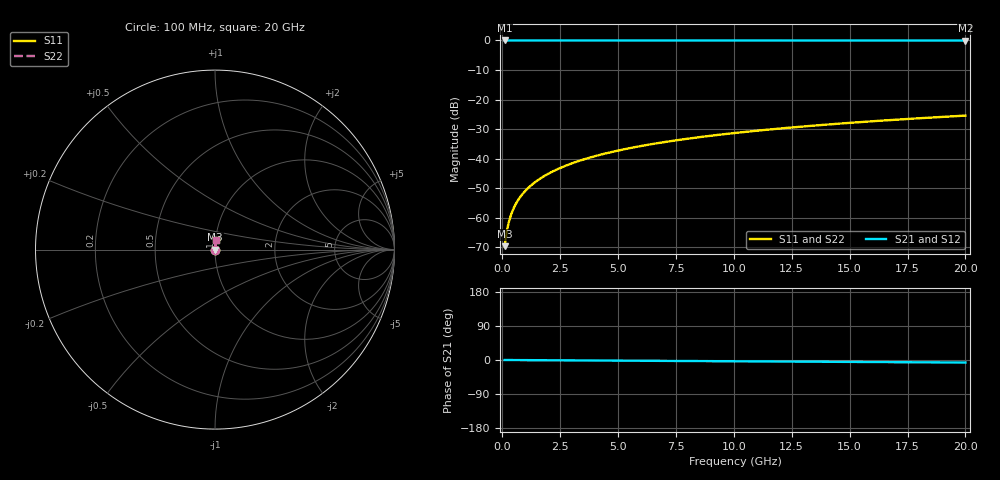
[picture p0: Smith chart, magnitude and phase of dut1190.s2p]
! Touchstone file exported from HFSS 2026.1.0
!  File:  C:/ffzhzh/LocalFiles/Ansys_Project_Files/temp_train_TSV_1190_1783192417_22436.aedt
!  Generated:  03:15:08 AM Jul  5, 2026
!  Design:  TSV
!  Project:  temp_train_TSV_1190_1783192417_22436
! Variables:
!  h_bsmrdl = 2um
!  h_ox = 20um
!  h_rdl = 5um
!  h_sub = 51.02um
!  h_tmrdl = 5um
!  h_tsv = 51.02um
!  h_via = 3um
!  l_bsmrdl = 300um
!  l_sub = 414.66um
!  l_tmrdl = 200um
!  m_sub = 200um
!  pitch = 55.7um
!  r_tsv = 7.33um
!  s_tmrdl = 10um
!  w_bsmrdl = 18um
!  w_sub = 500um
!  w_tmrdl = 12um
!  x_tsv_center1 = 206um
!  x_tsv_center2 = 524um
!  x_tsv_center3 = 736um
!  x_tsv_center4 = 1054um
!  x_tsv_center5 = 1266um
!  x_tsv_center6 = 1584um
# GHz S MA R 50.000000
! Terminal data exported
! Port[1] = TSV1_1_T1
! Port[2] = TSV1_1_T2
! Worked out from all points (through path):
!   200 points, 100 MHz to 20 GHz, reference 50 ohm
!   highest |S21| = 0.00 dB at 100 MHz (marker M1); lowest = 0.0 dB at 20 GHz (marker M2)
!   lowest |S11| = -69.6 dB at 100 MHz (marker M3), VSWR 1.00, Z = 50 + j0.0299 ohm
!   |S11| at or under -10 dB: start of sweep to end of sweep
!   |S22| runs from -69.6 to -25.4 dB; largest |S21 - S12| = 4.5e-15
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0.1  0.000332 64.4  0.9999 -0.0  0.9999 -0.0  0.000332 64.4
! Gamma 0 0 0 0
! Port Impedance 50 0 50 0
0.2  0.0006159 75.7  0.9998 -0.1  0.9998 -0.1  0.0006159 75.7
0.3  0.0009064 79.5  0.9998 -0.1  0.9998 -0.1  0.0009064 79.5
0.4  0.001196 81.3  0.9998 -0.1  0.9998 -0.1  0.001196 81.3
0.5  0.001482 82.3  0.9998 -0.2  0.9998 -0.2  0.001482 82.3
0.6  0.001765 83.0  0.9998 -0.2  0.9998 -0.2  0.001765 83.0
0.7  0.002046 83.5  0.9998 -0.2  0.9998 -0.2  0.002046 83.5
0.8  0.002324 83.8  0.9998 -0.3  0.9998 -0.3  0.002324 83.8
1  0.002876 84.4  0.9997 -0.3  0.9997 -0.3  0.002876 84.4
1.4  0.003971 85.1  0.9997 -0.5  0.9997 -0.5  0.003971 85.1
1.7  0.00479 85.5  0.9997 -0.6  0.9997 -0.6  0.00479 85.5
2  0.005609 85.7  0.9996 -0.7  0.9996 -0.7  0.005609 85.7
2.7  0.007515 86.1  0.9996 -0.9  0.9996 -0.9  0.007515 86.1
3.5  0.009689 86.2  0.9995 -1.2  0.9995 -1.2  0.009689 86.2
4.2  0.01158 86.2  0.9994 -1.4  0.9994 -1.4  0.01158 86.2
5  0.01374 86.1  0.9994 -1.7  0.9994 -1.7  0.01374 86.1
6.8  0.01858 85.8  0.9992 -2.3  0.9992 -2.3  0.01858 85.8
8.3  0.02259 85.4  0.999 -2.8  0.999 -2.8  0.02259 85.4
10.1  0.02739 85.0  0.9989 -3.4  0.9989 -3.4  0.02739 85.0
13.4  0.03617 84.1  0.9985 -4.5  0.9985 -4.5  0.03617 84.1
16.7  0.04491 83.2  0.998 -5.6  0.998 -5.6  0.04491 83.2
20  0.0536 82.1  0.9975 -6.7  0.9975 -6.7  0.0536 82.1
